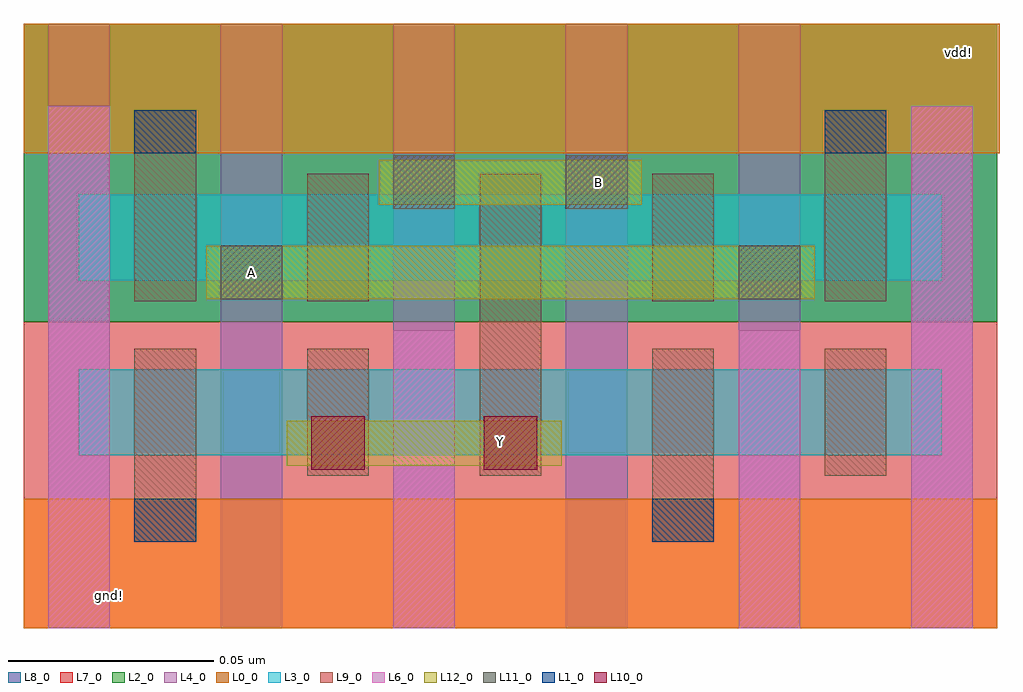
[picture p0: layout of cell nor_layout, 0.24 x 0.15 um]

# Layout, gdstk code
from math import pi, radians
import gdstk
lib = gdstk.Library(unit=1e-6, precision=5e-10)
def R(c, l, rs):  # rectangles x0, y0, x1, y1
    for r in rs: c.add(gdstk.rectangle(r[:2], r[2:], *l))
def A(c, l, x, y, w, h, nx, ny, dx, dy):  # array of equal rectangles
    R(c, l, [(x+i*dx, y+j*dy, x+i*dx+w, y+j*dy+h) for i in range(nx) for j in range(ny)])
L0_0 = (0, 0)
L1_0 = (1, 0)
L2_0 = (2, 0)
L3_0 = (3, 0)
L4_0 = (4, 0)
L6_0 = (6, 0)
L7_0 = (7, 0)
L8_0 = (8, 0)
L9_0 = (9, 0)
L10_0 = (10, 0)
L11_0 = (11, 0)
L12_0 = (12, 0)

pmos = lib.new_cell('pmos')
R(pmos, L2_0, [(-0.042,-0.0205,0.042,0.0205)])
R(pmos, L3_0, [(-0.042,-0.0105,0.042,0.0105)])
A(pmos, L4_0, -0.0495, -0.032, 0.015, 0.064, 3, 1, 0.042, 0)
R(pmos, L8_0, [(-0.0555,-0.0205,0.0555,0.0205)])
R(pmos, L9_0, [(-0.0285,-0.0155,-0.0135,0.0155), (0.0135,-0.0155,0.0285,0.0155)])

nmos = lib.new_cell('nmos')
R(nmos, L3_0, [(-0.042,-0.0105,0.042,0.0105)])
A(nmos, L4_0, -0.0495, -0.032, 0.015, 0.064, 3, 1, 0.042, 0)
R(nmos, L7_0, [(-0.0555,-0.021,0.0555,0.0205)])
R(nmos, L9_0, [(-0.0285,-0.0155,-0.0135,0.0155), (0.0135,-0.0155,0.0285,0.0155)])

bpr_m0a = lib.new_cell('BPR_M0A')
R(bpr_m0a, L0_0, [(-0.021,-0.0055,0.021,0.026)])
R(bpr_m0a, L1_0, [(-0.0075,-0.0055,0.0075,0.005)])
R(bpr_m0a, L9_0, [(-0.0075,-0.0165,0.0075,0.005)])

gate_m0b = lib.new_cell('GATE_M0B')
R(gate_m0b, L4_0, [(-0.0075,-0.0115,0.0075,0.0115)])
R(gate_m0b, L11_0, [(-0.0075,-0.0065,0.0075,0.0065)])
R(gate_m0b, L12_0, [(-0.011,-0.0055,0.011,0.0055)])

m0a_m0b = lib.new_cell('M0A_M0B')
R(m0a_m0b, L9_0, [(-0.0075,-0.0055,0.0075,0.0055)])
R(m0a_m0b, L10_0, [(-0.0065,-0.0065,0.0065,0.0065)])
R(m0a_m0b, L12_0, [(-0.0125,-0.0055,0.0125,0.0055)])

nor_layout = lib.new_cell('nor_layout')
R(nor_layout, L0_0, [(-0.02,0.057,0.217,0.0885), (-0.0135,0.0605,0.016,0.07), (-0.02,0.1725,0.2175,0.204), (0.1975,0.193,0.2175,0.201)])
R(nor_layout, L2_0, [(-0.02,0.1315,0.217,0.204)])
A(nor_layout, L4_0, 0.028, 0.057, 0.015, 0.0245, 5, 1, 0.042, 0)
R(nor_layout, L4_0, [(-0.014,0.057,0.001,0.078), (0.154,0.1385,0.169,0.1585), (0.112,0.1815,0.127,0.204), (0.154,0.1815,0.169,0.204), (0.028,0.182,0.043,0.204), (0.07,0.1825,0.085,0.204), (-0.014,0.1835,0.001,0.204)])
R(nor_layout, L6_0, [(-0.014,0.057,0.001,0.184), (0.07,0.057,0.085,0.1295), (0.154,0.057,0.169,0.1295), (0.196,0.057,0.211,0.184)])
R(nor_layout, L7_0, [(-0.02,0.057,0.217,0.1315)])
R(nor_layout, L8_0, [(-0.02,0.1315,0.217,0.204)])
R(nor_layout, L9_0, [(0.091,0.1155,0.106,0.1445)])
R(nor_layout, L12_0, [(0.044,0.0965,0.111,0.1075), (0.0895,0.099,0.103,0.106), (0.0245,0.137,0.1725,0.15), (0.0305,0.139,0.0405,0.1485), (0.0665,0.16,0.1305,0.171), (0.113,0.1615,0.127,0.1695)])
nor_layout.add(gdstk.Reference(pmos, (0.0355,0.152)))
nor_layout.add(gdstk.Reference(pmos, (0.1615,0.152)))
nor_layout.add(gdstk.Reference(pmos, (0.1195,0.152)))
nor_layout.add(gdstk.Reference(pmos, (0.0775,0.152)))
nor_layout.add(gdstk.Reference(nmos, (0.1615,0.1095)))
nor_layout.add(gdstk.Reference(nmos, (0.1195,0.1095)))
nor_layout.add(gdstk.Reference(nmos, (0.0355,0.1095)))
nor_layout.add(gdstk.Reference(bpr_m0a, (0.1405,0.083), rotation=pi))
nor_layout.add(gdstk.Reference(bpr_m0a, (0.0145,0.083), rotation=pi))
nor_layout.add(gdstk.Reference(bpr_m0a, (0.1825,0.178)))
nor_layout.add(gdstk.Reference(bpr_m0a, (0.0145,0.178)))
nor_layout.add(gdstk.Reference(gate_m0b, (0.0775,0.1655)))
nor_layout.add(gdstk.Reference(gate_m0b, (0.1615,0.1435)))
nor_layout.add(gdstk.Reference(gate_m0b, (0.0355,0.1435)))
nor_layout.add(gdstk.Reference(gate_m0b, (0.1195,0.1655)))
nor_layout.add(gdstk.Reference(m0a_m0b, (0.0565,0.102)))
nor_layout.add(gdstk.Reference(m0a_m0b, (0.0985,0.102)))
nor_layout.add(gdstk.Label('gnd!', (0.001,0.065), layer=0, texttype=0))
nor_layout.add(gdstk.Label('vdd!', (0.2075,0.197), layer=0, texttype=0))
nor_layout.add(gdstk.Label('A', (0.0355,0.1435), layer=12, texttype=0))
nor_layout.add(gdstk.Label('B', (0.12,0.1655), layer=12, texttype=0))
nor_layout.add(gdstk.Label('Y', (0.096,0.1025), layer=12, texttype=0))

lib.write_gds('nor_layout.gds')
